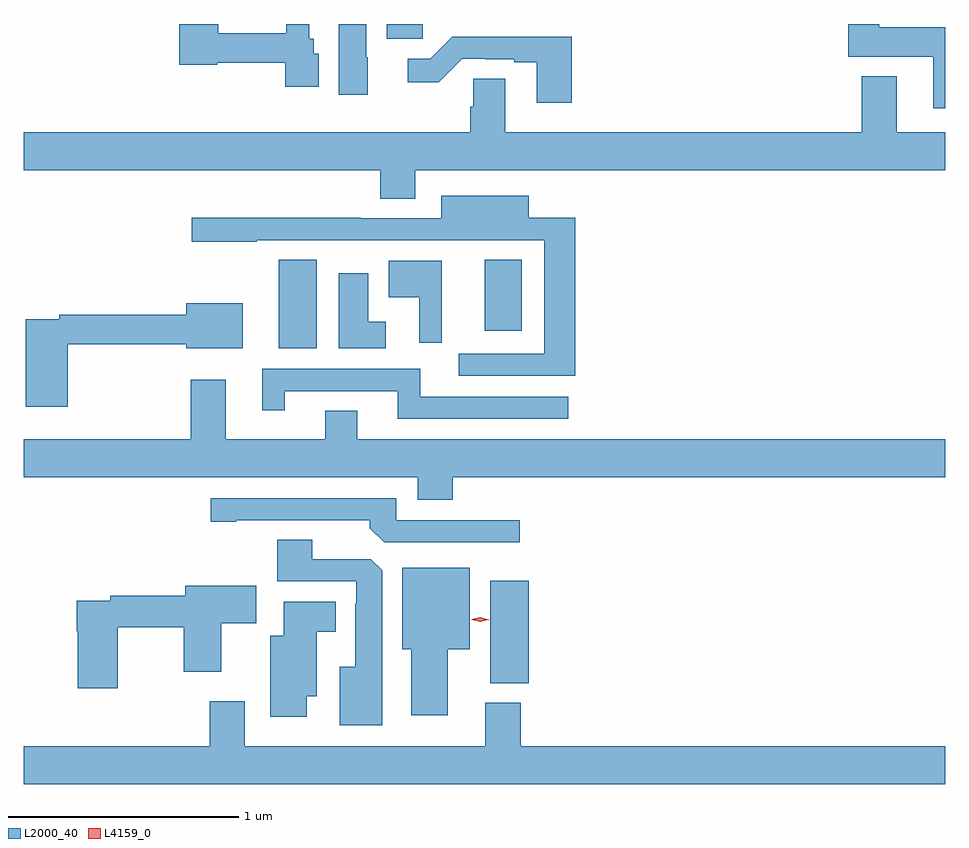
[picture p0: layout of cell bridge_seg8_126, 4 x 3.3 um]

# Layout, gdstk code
import gdstk
lib = gdstk.Library(unit=1e-6, precision=1e-09)
def R(c, l, rs):  # rectangles x0, y0, x1, y1
    for r in rs: c.add(gdstk.rectangle(r[:2], r[2:], *l))
def P(c, l, *ps):  # polygons
    for p in ps: c.add(gdstk.Polygon(p, *l))
L2000_40 = (2000, 40)
L4159_0 = (4159, 0)

bridge_seg8_126 = lib.new_cell('bridge_seg8_126')
R(bridge_seg8_126, L2000_40, [(853.55,1156.897,853.718,1157.341), (852.632,1158.35,852.796,1158.734), (853.526,1158.426,853.687,1158.734), (853.1,1159.695,853.256,1159.758)])
P(bridge_seg8_126, L2000_40, [(855.525,1159.744),(855.238,1159.744),(855.238,1159.758),(855.104,1159.758),(855.104,1159.616),(855.473,1159.616),(855.473,1159.392),(855.525,1159.392)],
  [(852.805,1159.629),(852.784,1159.629),(852.784,1159.695),(852.765,1159.695),(852.765,1159.758),(852.664,1159.758),(852.664,1159.718),(852.37,1159.718),(852.37,1159.758),(852.2,1159.758),(852.2,1159.582),(852.366,1159.582),(852.366,1159.59),(852.661,1159.59),(852.661,1159.485),(852.805,1159.485)],
  [(853.018,1159.614),(853.012,1159.614),(853.012,1159.758),(852.893,1159.758),(852.893,1159.452),(853.018,1159.452)],
  [(853.904,1159.703),(853.385,1159.703),(853.29,1159.608),(853.191,1159.608),(853.191,1159.506),(853.326,1159.506),(853.428,1159.608),(853.528,1159.608),(853.528,1159.605),(853.655,1159.605),(853.655,1159.593),(853.751,1159.593),(853.751,1159.416),(853.904,1159.416)],
  [(853.225,1159.124),(855.525,1159.124),(855.525,1159.288),(855.313,1159.288),(855.313,1159.531),(855.161,1159.531),(855.161,1159.288),(853.615,1159.288),(853.615,1159.52),(853.476,1159.52),(853.476,1159.398),(853.463,1159.398),(853.463,1159.288),(851.525,1159.288),(851.525,1159.124),(853.073,1159.124),(853.073,1159),(853.225,1159)],
  [(853.919,1158.917),(853.717,1158.917),(853.717,1159.012),(853.337,1159.012),(853.337,1158.915),(852.989,1158.915),(852.989,1158.917),(852.255,1158.917),(852.255,1158.814),(852.536,1158.814),(852.536,1158.819),(853.784,1158.819),(853.784,1158.327),(853.413,1158.327),(853.413,1158.231),(853.919,1158.231)],
  [(853.34,1158.73),(853.11,1158.73),(853.11,1158.572),(853.241,1158.572),(853.241,1158.375),(853.34,1158.375)],
  [(853.096,1158.466),(853.021,1158.466),(853.021,1158.676),(852.893,1158.676),(852.893,1158.35),(853.096,1158.35)],
  [(851.717,1158.369),(852.23,1158.369),(852.23,1158.35),(852.475,1158.35),(852.475,1158.547),(852.23,1158.547),(852.23,1158.497),(851.68,1158.497),(851.68,1158.477),(851.534,1158.477),(851.534,1158.096),(851.717,1158.096)],
  [(853.888,1158.141),(853.246,1158.141),(853.246,1158.261),(852.56,1158.261),(852.56,1158.081),(852.658,1158.081),(852.658,1158.165),(853.148,1158.165),(853.148,1158.045),(853.888,1158.045)],
  [(853.388,1157.792),(855.525,1157.792),(855.525,1157.956),(852.973,1157.956),(852.973,1158.08),(852.833,1158.08),(852.833,1157.956),(852.403,1157.956),(852.403,1158.214),(852.251,1158.214),(852.251,1157.956),(851.525,1157.956),(851.525,1157.792),(853.235,1157.792),(853.235,1157.693),(853.388,1157.693)],
  [(853.678,1157.604),(853.143,1157.604),(853.143,1157.7),(852.336,1157.7),(852.336,1157.599),(852.448,1157.599),(852.448,1157.604),(853.028,1157.604),(853.028,1157.57),(853.089,1157.508),(853.678,1157.508)],
  [(853.081,1157.387),(853.032,1157.436),(852.778,1157.436),(852.778,1157.519),(852.626,1157.519),(852.626,1157.34),(852.969,1157.34),(852.969,1157.243),(852.965,1157.243),(852.965,1156.969),(852.896,1156.969),(852.896,1156.715),(853.081,1156.715)],
  [(853.366,1157.045),(853.462,1157.045),(853.462,1157.398),(853.169,1157.398),(853.169,1157.045),(853.208,1157.045),(853.208,1156.758),(853.366,1156.758)],
  [(851.934,1157.14),(852.22,1157.14),(852.22,1156.947),(852.382,1156.947),(852.382,1157.158),(852.535,1157.158),(852.535,1157.32),(852.227,1157.32),(852.227,1157.276),(851.902,1157.276),(851.902,1157.256),(851.756,1157.256),(851.756,1157.123),(851.761,1157.123),(851.761,1156.875),(851.934,1156.875)],
  [(852.754,1156.841),(852.796,1156.841),(852.796,1157.12),(852.88,1157.12),(852.88,1157.251),(852.653,1157.251),(852.653,1157.104),(852.596,1157.104),(852.596,1156.752),(852.754,1156.752)],
  [(855.525,1156.624),(853.682,1156.624),(853.682,1156.812),(853.529,1156.812),(853.529,1156.624),(852.484,1156.624),(852.484,1156.819),(852.332,1156.819),(852.332,1156.624),(851.525,1156.624),(851.525,1156.46),(855.525,1156.46)])
P(bridge_seg8_126, L4159_0, [(853.507,1157.163),(853.469,1157.173),(853.469,1157.174),(853.469,1157.174),(853.507,1157.183),(853.544,1157.173),(853.545,1157.173),(853.544,1157.172)])

lib.write_gds('bridge_seg8_126.gds')
